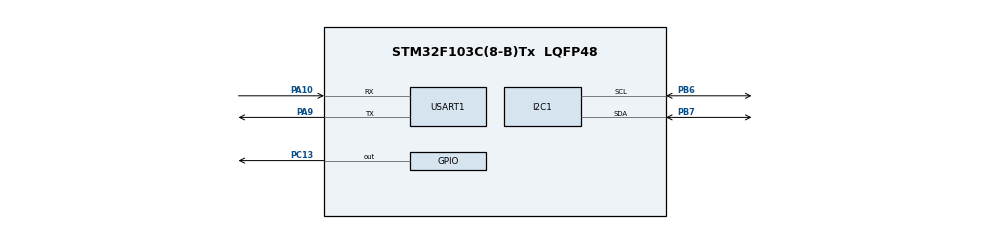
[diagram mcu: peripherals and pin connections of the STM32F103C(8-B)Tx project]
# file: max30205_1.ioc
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Mcu.Family=STM32F1
Mcu.Name=STM32F103C(8-B)Tx
Mcu.Package=LQFP48
NVIC.PriorityGroup=NVIC_PRIORITYGROUP_4
PA10.Mode=Asynchronous
PA10.Signal=USART1_RX
PA9.Mode=Asynchronous
PA9.Signal=USART1_TX
PB6.Mode=I2C
PB6.Signal=I2C1_SCL
PB7.Mode=I2C
PB7.Signal=I2C1_SDA
PC13-TAMPER-RTC.Signal=GPIO_Output
ProjectManager.HeapSize=0x200
ProjectManager.StackSize=0x400
ProjectManager.TargetToolchain=CMake
RCC.APB1Freq_Value=8000000
RCC.APB2Freq_Value=8000000
USART1.VirtualMode=VM_ASYNC
VP_SYS_VS_ND.Mode=No_Debug
board=custom

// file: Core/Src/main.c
/* USER CODE BEGIN Header */
/**
 ******************************************************************************
 * @file           : main.c
 * @brief          : Main program body
 ******************************************************************************
 * @attention
 *
 * Copyright (c) 2025 STMicroelectronics.
 * All rights reserved.
 *
 * This software is licensed under terms that can be found in the LICENSE file
 * in the root directory of this software component.
 * If no LICENSE file comes with this software, it is provided AS-IS.
 *
 ******************************************************************************
 */
/* USER CODE END Header */
#include "main.h"

/* USER CODE BEGIN Includes */
#include <stdio.h>
#include <string.h>
/* USER CODE END Includes */

I2C_HandleTypeDef hi2c1;

UART_HandleTypeDef huart1;

/* USER CODE BEGIN PV */
char str[100] = {
    0,
};
uint8_t temp = 0;
/* USER CODE END PV */

void SystemClock_Config(void);
static void MX_GPIO_Init(void);
static void MX_I2C1_Init(void);
static void MX_USART1_UART_Init(void);

/* USER CODE BEGIN 0 */
#define MAX30205_ADDR (0x48 << 1) // HAL використовує 8-бітну адресу

void MAX30205_Init(void)
{
  uint8_t config = 0x00; // shutdown = 0, comparator mode

  HAL_I2C_Mem_Write(&hi2c1, MAX30205_ADDR, 0x01, I2C_MEMADD_SIZE_8BIT, &config, 1, HAL_MAX_DELAY);
}

float MAX30205_Read(void)
{
  uint8_t raw[2] = {0};

  HAL_StatusTypeDef status = HAL_I2C_Mem_Read(&hi2c1, MAX30205_ADDR, 0x00, I2C_MEMADD_SIZE_8BIT, raw, 2, HAL_MAX_DELAY);

  if (status != HAL_OK)
  {
    char err[] = "I2C read fail\r\n";
    HAL_UART_Transmit(&huart1, (uint8_t *)err, sizeof(err) - 1, HAL_MAX_DELAY);
    return -1000.0f;
  }

  int16_t raw_temp = (int16_t)((raw[0] << 8) | raw[1]); // signed
  float temp_c = raw_temp * 0.00390625f;                // = 1/256

  char debug[64];
  snprintf(debug, sizeof(debug), "Raw: 0x%04X, T=%.2f\r\n", raw_temp & 0xFFFF, temp_c);
  HAL_UART_Transmit(&huart1, (uint8_t *)debug, strlen(debug), HAL_MAX_DELAY);

  return temp_c;
}

/* USER CODE END 0 */

int main(void)
{

  /* MCU Configuration--------------------------------------------------------*/

  /* Reset of all peripherals, Initializes the Flash interface and the Systick. */
  HAL_Init();

  /* Configure the system clock */
  SystemClock_Config();

  /* Initialize all configured peripherals */
  MX_GPIO_Init();
  MX_I2C1_Init();
  MX_USART1_UART_Init();
  /* USER CODE BEGIN 2 */
  printf("MAX30205 demo started\r\n");

  /* USER CODE END 2 */

  /* Infinite loop */
  /* USER CODE BEGIN WHILE */
  while (1)
  {
    float temperature = MAX30205_Read();

    int t_int = (int)temperature;
    int t_frac = (int)((temperature - t_int) * 100);

    snprintf(str, sizeof(str), "Temp: %d.%02d C\r\n", t_int, t_frac);

    HAL_UART_Transmit(&huart1, (uint8_t *)str, strlen(str), HAL_MAX_DELAY);

    HAL_Delay(1000);

    /* USER CODE END WHILE */

    /* USER CODE BEGIN 3 */
    /* USER CODE BEGIN 3 */
    // const char msg[] = "Hello world\r\n";
    // while (1)
    // {
    //   HAL_UART_Transmit(&huart1, (uint8_t *)msg, sizeof(msg) - 1, HAL_MAX_DELAY);
    //   HAL_Delay(2000); // Затримка 2000 мс (2 с)
    // }
    /* USER CODE END 3 */
  }
  /* USER CODE END 3 */
}

void SystemClock_Config(void)
{
  RCC_OscInitTypeDef RCC_OscInitStruct = {0};
  RCC_ClkInitTypeDef RCC_ClkInitStruct = {0};

  /** Initializes the RCC Oscillators according to the specified parameters
   * in the RCC_OscInitTypeDef structure.
   */
  RCC_OscInitStruct.OscillatorType = RCC_OSCILLATORTYPE_HSI;
  RCC_OscInitStruct.HSIState = RCC_HSI_ON;
  RCC_OscInitStruct.HSICalibrationValue = RCC_HSICALIBRATION_DEFAULT;
  RCC_OscInitStruct.PLL.PLLState = RCC_PLL_NONE;
  if (HAL_RCC_OscConfig(&RCC_OscInitStruct) != HAL_OK)
  {
    Error_Handler();
  }

  /** Initializes the CPU, AHB and APB buses clocks
   */
  RCC_ClkInitStruct.ClockType = RCC_CLOCKTYPE_HCLK | RCC_CLOCKTYPE_SYSCLK | RCC_CLOCKTYPE_PCLK1 | RCC_CLOCKTYPE_PCLK2;
  RCC_ClkInitStruct.SYSCLKSource = RCC_SYSCLKSOURCE_HSI;
  RCC_ClkInitStruct.AHBCLKDivider = RCC_SYSCLK_DIV1;
  RCC_ClkInitStruct.APB1CLKDivider = RCC_HCLK_DIV1;
  RCC_ClkInitStruct.APB2CLKDivider = RCC_HCLK_DIV1;

  if (HAL_RCC_ClockConfig(&RCC_ClkInitStruct, FLASH_LATENCY_0) != HAL_OK)
  {
    Error_Handler();
  }
}

static void MX_I2C1_Init(void)
{

  hi2c1.Instance = I2C1;
  hi2c1.Init.ClockSpeed = 100000;
  hi2c1.Init.DutyCycle = I2C_DUTYCYCLE_2;
  hi2c1.Init.OwnAddress1 = 0;
  hi2c1.Init.AddressingMode = I2C_ADDRESSINGMODE_7BIT;
  hi2c1.Init.DualAddressMode = I2C_DUALADDRESS_DISABLE;
  hi2c1.Init.OwnAddress2 = 0;
  hi2c1.Init.GeneralCallMode = I2C_GENERALCALL_DISABLE;
  hi2c1.Init.NoStretchMode = I2C_NOSTRETCH_DISABLE;
  if (HAL_I2C_Init(&hi2c1) != HAL_OK)
  {
    Error_Handler();
  }
}

static void MX_USART1_UART_Init(void)
{

  huart1.Instance = USART1;
  huart1.Init.BaudRate = 115200;
  huart1.Init.WordLength = UART_WORDLENGTH_8B;
  huart1.Init.StopBits = UART_STOPBITS_1;
  huart1.Init.Parity = UART_PARITY_NONE;
  huart1.Init.Mode = UART_MODE_TX_RX;
  huart1.Init.HwFlowCtl = UART_HWCONTROL_NONE;
  huart1.Init.OverSampling = UART_OVERSAMPLING_16;
  if (HAL_UART_Init(&huart1) != HAL_OK)
  {
    Error_Handler();
  }
}

static void MX_GPIO_Init(void)
{
  GPIO_InitTypeDef GPIO_InitStruct = {0};

  /* GPIO Ports Clock Enable */
  __HAL_RCC_GPIOC_CLK_ENABLE();
  __HAL_RCC_GPIOA_CLK_ENABLE();
  __HAL_RCC_GPIOB_CLK_ENABLE();

  /*Configure GPIO pin Output Level */
  HAL_GPIO_WritePin(GPIOC, GPIO_PIN_13, GPIO_PIN_RESET);

  /*Configure GPIO pin : PC13 */
  GPIO_InitStruct.Pin = GPIO_PIN_13;
  GPIO_InitStruct.Mode = GPIO_MODE_OUTPUT_PP;
  GPIO_InitStruct.Pull = GPIO_NOPULL;
  GPIO_InitStruct.Speed = GPIO_SPEED_FREQ_LOW;
  HAL_GPIO_Init(GPIOC, &GPIO_InitStruct);

}

void Error_Handler(void)
{
  __disable_irq();
  while (1)
  {
  }
}
